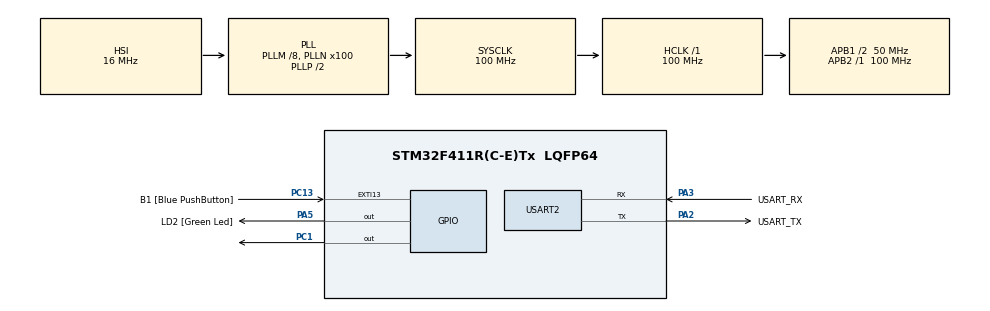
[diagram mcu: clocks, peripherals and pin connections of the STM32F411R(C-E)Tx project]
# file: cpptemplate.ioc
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Mcu.Family=STM32F4
Mcu.Name=STM32F411R(C-E)Tx
Mcu.Package=LQFP64
NVIC.PriorityGroup=NVIC_PRIORITYGROUP_0
PA13.GPIO_Label=TMS
PA13.Mode=Serial_Wire
PA13.Signal=SYS_JTMS-SWDIO
PA14.GPIO_Label=TCK
PA14.Mode=Serial_Wire
PA14.Signal=SYS_JTCK-SWCLK
PA2.GPIO_Label=USART_TX
PA2.Mode=Asynchronous
PA2.Signal=USART2_TX
PA3.GPIO_Label=USART_RX
PA3.Mode=Asynchronous
PA3.Signal=USART2_RX
PA5.GPIO_Label=LD2 [Green Led]
PA5.Signal=GPIO_Output
PB3.GPIO_Label=SWO
PB3.Signal=SYS_JTDO-SWO
PC1.Signal=GPIO_Output
PC13-ANTI_TAMP.GPIO_Label=B1 [Blue PushButton]
PC13-ANTI_TAMP.GPIO_ModeDefaultEXTI=GPIO_MODE_IT_FALLING
PC13-ANTI_TAMP.Signal=GPXTI13
PC14-OSC32_IN.Mode=LSE-External-Oscillator
PC14-OSC32_IN.Signal=RCC_OSC32_IN
PC15-OSC32_OUT.Mode=LSE-External-Oscillator
PC15-OSC32_OUT.Signal=RCC_OSC32_OUT
PH0\ -\ OSC_IN.Mode=HSE-External-Clock-Source
PH0\ -\ OSC_IN.Signal=RCC_OSC_IN
PH1\ -\ OSC_OUT.Mode=HSE-External-Clock-Source
PH1\ -\ OSC_OUT.Signal=RCC_OSC_OUT
ProjectManager.HeapSize=0x2000
ProjectManager.StackSize=0x8000
ProjectManager.TargetToolchain=Makefile
RCC.48MHZClocksFreq_Value=50000000
RCC.AHBFreq_Value=100000000
RCC.APB1CLKDivider=RCC_HCLK_DIV2
RCC.APB1Freq_Value=50000000
RCC.APB1TimFreq_Value=100000000
RCC.APB2Freq_Value=100000000
RCC.APB2TimFreq_Value=100000000
RCC.CortexFreq_Value=100000000
RCC.FLatency-AdvancedSettings=FLASH_LATENCY_3
RCC.HCLKFreq_Value=100000000
RCC.HSE_VALUE=8000000
RCC.HSI_VALUE=16000000
RCC.PLLM=8
RCC.PLLN=100
RCC.SYSCLKFreq_VALUE=100000000
RCC.SYSCLKSource=RCC_SYSCLKSOURCE_PLLCLK
RCC.VCOOutputFreq_Value=200000000
USART2.VirtualMode=VM_ASYNC
board=NUCLEO-F411RE

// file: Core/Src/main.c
/* USER CODE BEGIN Header */
// vi: ft=cpp:ts=2:sw=2
/**
  ******************************************************************************
  * @file           : main.c
  * @brief          : Main program body
  ******************************************************************************
  * @attention
  *
  * <h2><center>&copy; Copyright (c) 2019 STMicroelectronics.
  * All rights reserved.</center></h2>
  *
  * This software component is licensed by ST under BSD 3-Clause license,
  * the "License"; You may not use this file except in compliance with the
  * License. You may obtain a copy of the License at:
  *                        opensource.org/licenses/BSD-3-Clause
  *
  ******************************************************************************
  */
/* USER CODE END Header */

#include "main.h"

/* USER CODE BEGIN Includes */
#include <sys/stat.h>
#include <iostream>
#include <vector>
extern "C" {
/* USER CODE END Includes */

UART_HandleTypeDef huart2;

void SystemClock_Config(void);
static void MX_GPIO_Init(void);
static void MX_USART2_UART_Init(void);

int main(void)
{

  /* MCU Configuration--------------------------------------------------------*/

  /* Reset of all peripherals, Initializes the Flash interface and the Systick. */
  HAL_Init();

  /* Configure the system clock */
  SystemClock_Config();

  /* Initialize all configured peripherals */
  MX_GPIO_Init();
  MX_USART2_UART_Init();

  /* Infinite loop */
  /* USER CODE BEGIN WHILE */
  while (1)
  {
    std::cout << "Poyoyo: " << HAL_GetTick() << std::endl;
    HAL_Delay(1000);
    /* USER CODE END WHILE */

  }
}

void SystemClock_Config(void)
{
  RCC_OscInitTypeDef RCC_OscInitStruct = {0};
  RCC_ClkInitTypeDef RCC_ClkInitStruct = {0};

  /** Configure the main internal regulator output voltage
  */
  __HAL_RCC_PWR_CLK_ENABLE();
  __HAL_PWR_VOLTAGESCALING_CONFIG(PWR_REGULATOR_VOLTAGE_SCALE1);
  /** Initializes the CPU, AHB and APB busses clocks
  */
  RCC_OscInitStruct.OscillatorType = RCC_OSCILLATORTYPE_HSI;
  RCC_OscInitStruct.HSIState = RCC_HSI_ON;
  RCC_OscInitStruct.HSICalibrationValue = RCC_HSICALIBRATION_DEFAULT;
  RCC_OscInitStruct.PLL.PLLState = RCC_PLL_ON;
  RCC_OscInitStruct.PLL.PLLSource = RCC_PLLSOURCE_HSI;
  RCC_OscInitStruct.PLL.PLLM = 8;
  RCC_OscInitStruct.PLL.PLLN = 100;
  RCC_OscInitStruct.PLL.PLLP = RCC_PLLP_DIV2;
  RCC_OscInitStruct.PLL.PLLQ = 4;
  if (HAL_RCC_OscConfig(&RCC_OscInitStruct) != HAL_OK)
  {
    Error_Handler();
  }
  /** Initializes the CPU, AHB and APB busses clocks
  */
  RCC_ClkInitStruct.ClockType = RCC_CLOCKTYPE_HCLK|RCC_CLOCKTYPE_SYSCLK
                              |RCC_CLOCKTYPE_PCLK1|RCC_CLOCKTYPE_PCLK2;
  RCC_ClkInitStruct.SYSCLKSource = RCC_SYSCLKSOURCE_PLLCLK;
  RCC_ClkInitStruct.AHBCLKDivider = RCC_SYSCLK_DIV1;
  RCC_ClkInitStruct.APB1CLKDivider = RCC_HCLK_DIV2;
  RCC_ClkInitStruct.APB2CLKDivider = RCC_HCLK_DIV1;

  if (HAL_RCC_ClockConfig(&RCC_ClkInitStruct, FLASH_LATENCY_3) != HAL_OK)
  {
    Error_Handler();
  }
}

static void MX_USART2_UART_Init(void)
{

  huart2.Instance = USART2;
  huart2.Init.BaudRate = 115200;
  huart2.Init.WordLength = UART_WORDLENGTH_8B;
  huart2.Init.StopBits = UART_STOPBITS_1;
  huart2.Init.Parity = UART_PARITY_NONE;
  huart2.Init.Mode = UART_MODE_TX_RX;
  huart2.Init.HwFlowCtl = UART_HWCONTROL_NONE;
  huart2.Init.OverSampling = UART_OVERSAMPLING_16;
  if (HAL_UART_Init(&huart2) != HAL_OK)
  {
    Error_Handler();
  }

}

static void MX_GPIO_Init(void)
{
  GPIO_InitTypeDef GPIO_InitStruct = {0};

  /* GPIO Ports Clock Enable */
  __HAL_RCC_GPIOC_CLK_ENABLE();
  __HAL_RCC_GPIOH_CLK_ENABLE();
  __HAL_RCC_GPIOA_CLK_ENABLE();
  __HAL_RCC_GPIOB_CLK_ENABLE();
  __HAL_RCC_GPIOD_CLK_ENABLE();

  /*Configure GPIO pin Output Level */
  HAL_GPIO_WritePin(GPIOC, GPIO_PIN_1, GPIO_PIN_RESET);

  /*Configure GPIO pin Output Level */
  HAL_GPIO_WritePin(LD2_GPIO_Port, LD2_Pin, GPIO_PIN_RESET);

  /*Configure GPIO pin : B1_Pin */
  GPIO_InitStruct.Pin = B1_Pin;
  GPIO_InitStruct.Mode = GPIO_MODE_IT_FALLING;
  GPIO_InitStruct.Pull = GPIO_NOPULL;
  HAL_GPIO_Init(B1_GPIO_Port, &GPIO_InitStruct);

  /*Configure GPIO pins : PC0 PC2 PC3 PC4
                           PC5 PC6 PC7 PC8
                           PC9 PC10 PC11 PC12 */
  GPIO_InitStruct.Pin = GPIO_PIN_0|GPIO_PIN_2|GPIO_PIN_3|GPIO_PIN_4
                          |GPIO_PIN_5|GPIO_PIN_6|GPIO_PIN_7|GPIO_PIN_8
                          |GPIO_PIN_9|GPIO_PIN_10|GPIO_PIN_11|GPIO_PIN_12;
  GPIO_InitStruct.Mode = GPIO_MODE_ANALOG;
  GPIO_InitStruct.Pull = GPIO_NOPULL;
  HAL_GPIO_Init(GPIOC, &GPIO_InitStruct);

  /*Configure GPIO pin : PC1 */
  GPIO_InitStruct.Pin = GPIO_PIN_1;
  GPIO_InitStruct.Mode = GPIO_MODE_OUTPUT_PP;
  GPIO_InitStruct.Pull = GPIO_NOPULL;
  GPIO_InitStruct.Speed = GPIO_SPEED_FREQ_LOW;
  HAL_GPIO_Init(GPIOC, &GPIO_InitStruct);

  /*Configure GPIO pins : PA0 PA1 PA4 PA6
                           PA7 PA8 PA9 PA10
                           PA11 PA12 PA15 */
  GPIO_InitStruct.Pin = GPIO_PIN_0|GPIO_PIN_1|GPIO_PIN_4|GPIO_PIN_6
                          |GPIO_PIN_7|GPIO_PIN_8|GPIO_PIN_9|GPIO_PIN_10
                          |GPIO_PIN_11|GPIO_PIN_12|GPIO_PIN_15;
  GPIO_InitStruct.Mode = GPIO_MODE_ANALOG;
  GPIO_InitStruct.Pull = GPIO_NOPULL;
  HAL_GPIO_Init(GPIOA, &GPIO_InitStruct);

  /*Configure GPIO pin : LD2_Pin */
  GPIO_InitStruct.Pin = LD2_Pin;
  GPIO_InitStruct.Mode = GPIO_MODE_OUTPUT_PP;
  GPIO_InitStruct.Pull = GPIO_NOPULL;
  GPIO_InitStruct.Speed = GPIO_SPEED_FREQ_LOW;
  HAL_GPIO_Init(LD2_GPIO_Port, &GPIO_InitStruct);

  /*Configure GPIO pins : PB0 PB1 PB2 PB10
                           PB12 PB13 PB14 PB15
                           PB4 PB5 PB6 PB7
                           PB8 PB9 */
  GPIO_InitStruct.Pin = GPIO_PIN_0|GPIO_PIN_1|GPIO_PIN_2|GPIO_PIN_10
                          |GPIO_PIN_12|GPIO_PIN_13|GPIO_PIN_14|GPIO_PIN_15
                          |GPIO_PIN_4|GPIO_PIN_5|GPIO_PIN_6|GPIO_PIN_7
                          |GPIO_PIN_8|GPIO_PIN_9;
  GPIO_InitStruct.Mode = GPIO_MODE_ANALOG;
  GPIO_InitStruct.Pull = GPIO_NOPULL;
  HAL_GPIO_Init(GPIOB, &GPIO_InitStruct);

  /*Configure GPIO pin : PD2 */
  GPIO_InitStruct.Pin = GPIO_PIN_2;
  GPIO_InitStruct.Mode = GPIO_MODE_ANALOG;
  GPIO_InitStruct.Pull = GPIO_NOPULL;
  HAL_GPIO_Init(GPIOD, &GPIO_InitStruct);

}

/* USER CODE BEGIN 4 */
extern int _write(int file, char *ptr, int len) {
  /* Implement your write code here, this is used by puts and printf for example */
  for (int i = 0; i < len; i++)
    ITM_SendChar((*ptr++));
  return len;
}

int _read(int file, char* ptr, int len) {
    int DataIdx;

    for (DataIdx = 0; DataIdx < len; DataIdx++) {
        *ptr++ = 0; // FIXME
    }

    return len;
}

int _close(int file) {
  return -1;
}

int _fstat(int file, struct stat* st) {
  st->st_mode = S_IFCHR;
  return 0;
}

int _isatty(int file) {
  return 1;
}

int _lseek(int file, int ptr, int dir) {
  return 0;
}

}
/* USER CODE END 4 */

void Error_Handler(void)
{
}

#ifdef  USE_FULL_ASSERT
/**
  * @brief  Reports the name of the source file and the source line number
  *         where the assert_param error has occurred.
  * @param  file: pointer to the source file name
  * @param  line: assert_param error line source number
  * @retval None
  */
void assert_failed(uint8_t *file, uint32_t line)
{
  /* USER CODE BEGIN 6 */
  /* User can add his own implementation to report the file name and line number,
     tex: printf("Wrong parameters value: file %s on line %d\r\n", file, line) */
  printf("Wrong parameters value: file %s on line %ld\r\n", file, line);
  /* USER CODE END 6 */
}
#endif /* USE_FULL_ASSERT */

/************************ (C) COPYRIGHT STMicroelectronics *****END OF FILE****/
